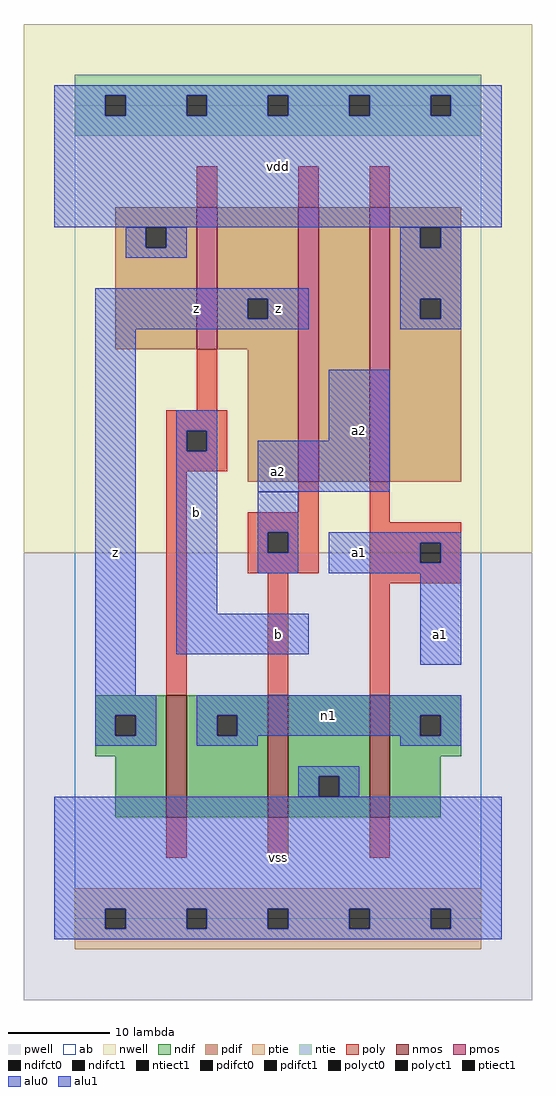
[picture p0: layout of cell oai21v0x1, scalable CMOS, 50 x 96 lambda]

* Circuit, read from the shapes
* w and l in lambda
.subckt oai21v0x1 a1 a2 b n1 vdd vss z
M1 n1 b z vss nfet w=12 l=2
M2 vss a2 n1 vss nfet w=12 l=2
M3 n1 a1 vss vss nfet w=12 l=2
M4 z b vdd vdd pfet w=14 l=2
M5 n2 a2 z vdd pfet w=27 l=2
M6 vdd a1 n2 vdd pfet w=27 l=2
.ends

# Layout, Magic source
magic
tech scmos
<< ab >>
rect 0 0 40 80
<< nwell >>
rect -5 36 45 88
<< pwell >>
rect -5 -8 45 36
<< poly >>
rect 12 70 14 74
rect 22 70 24 74
rect 29 70 31 74
rect 12 50 14 56
rect 9 48 15 50
rect 9 46 11 48
rect 13 46 15 48
rect 9 44 15 46
rect 9 22 11 44
rect 22 40 24 43
rect 17 38 24 40
rect 17 36 19 38
rect 21 36 24 38
rect 17 34 24 36
rect 29 39 31 43
rect 29 37 38 39
rect 29 35 34 37
rect 36 35 38 37
rect 19 22 21 34
rect 29 33 38 35
rect 29 22 31 33
rect 9 6 11 10
rect 19 6 21 10
rect 29 6 31 10
<< ndif >>
rect 2 20 9 22
rect 2 18 4 20
rect 6 18 9 20
rect 2 16 9 18
rect 4 10 9 16
rect 11 20 19 22
rect 11 18 14 20
rect 16 18 19 20
rect 11 10 19 18
rect 21 14 29 22
rect 21 12 24 14
rect 26 12 29 14
rect 21 10 29 12
rect 31 20 38 22
rect 31 18 34 20
rect 36 18 38 20
rect 31 16 38 18
rect 31 10 36 16
<< pdif >>
rect 4 68 12 70
rect 4 66 7 68
rect 9 66 12 68
rect 4 56 12 66
rect 14 61 22 70
rect 14 59 17 61
rect 19 59 22 61
rect 14 56 22 59
rect 17 43 22 56
rect 24 43 29 70
rect 31 68 38 70
rect 31 66 34 68
rect 36 66 38 68
rect 31 61 38 66
rect 31 59 34 61
rect 36 59 38 61
rect 31 43 38 59
<< alu1 >>
rect -2 81 42 82
rect -2 79 3 81
rect 5 79 11 81
rect 13 79 19 81
rect 21 79 27 81
rect 29 79 35 81
rect 37 79 42 81
rect -2 68 42 79
rect 2 61 23 62
rect 2 59 17 61
rect 19 59 23 61
rect 2 58 23 59
rect 2 22 6 58
rect 10 48 14 50
rect 10 46 11 48
rect 13 46 14 48
rect 25 47 31 54
rect 10 30 14 46
rect 18 42 31 47
rect 25 37 38 38
rect 25 35 34 37
rect 36 35 38 37
rect 25 34 38 35
rect 10 26 23 30
rect 34 25 38 34
rect 2 20 8 22
rect 2 18 4 20
rect 6 18 8 20
rect 2 17 8 18
rect -2 1 42 12
rect -2 -1 3 1
rect 5 -1 11 1
rect 13 -1 19 1
rect 21 -1 27 1
rect 29 -1 35 1
rect 37 -1 42 1
rect -2 -2 42 -1
<< ptie >>
rect 0 1 40 3
rect 0 -1 3 1
rect 5 -1 11 1
rect 13 -1 19 1
rect 21 -1 27 1
rect 29 -1 35 1
rect 37 -1 40 1
rect 0 -3 40 -1
<< ntie >>
rect 0 81 40 83
rect 0 79 3 81
rect 5 79 11 81
rect 13 79 19 81
rect 21 79 27 81
rect 29 79 35 81
rect 37 79 40 81
rect 0 77 40 79
<< nmos >>
rect 9 10 11 22
rect 19 10 21 22
rect 29 10 31 22
<< pmos >>
rect 12 56 14 70
rect 22 43 24 70
rect 29 43 31 70
<< polyct0 >>
rect 19 36 21 38
<< polyct1 >>
rect 11 46 13 48
rect 34 35 36 37
<< ndifct0 >>
rect 14 18 16 20
rect 24 12 26 14
rect 34 18 36 20
<< ndifct1 >>
rect 4 18 6 20
<< ntiect1 >>
rect 3 79 5 81
rect 11 79 13 81
rect 19 79 21 81
rect 27 79 29 81
rect 35 79 37 81
<< ptiect1 >>
rect 3 -1 5 1
rect 11 -1 13 1
rect 19 -1 21 1
rect 27 -1 29 1
rect 35 -1 37 1
<< pdifct0 >>
rect 7 66 9 68
rect 34 66 36 68
rect 34 59 36 61
<< pdifct1 >>
rect 17 59 19 61
<< alu0 >>
rect 5 66 7 68
rect 9 66 11 68
rect 5 65 11 66
rect 32 66 34 68
rect 36 66 38 68
rect 32 61 38 66
rect 32 59 34 61
rect 36 59 38 61
rect 32 58 38 59
rect 18 38 22 42
rect 18 36 19 38
rect 21 36 22 38
rect 18 34 22 36
rect 12 20 38 22
rect 12 18 14 20
rect 16 18 34 20
rect 36 18 38 20
rect 12 17 18 18
rect 32 17 38 18
rect 22 14 28 15
rect 22 12 24 14
rect 26 12 28 14
<< labels >>
rlabel alu0 25 20 25 20 6 n1
rlabel alu1 4 36 4 36 6 z
rlabel alu1 12 40 12 40 6 b
rlabel alu1 12 60 12 60 6 z
rlabel alu1 20 6 20 6 6 vss
rlabel alu1 20 28 20 28 6 b
rlabel alu1 28 36 28 36 6 a1
rlabel alu1 20 44 20 44 6 a2
rlabel alu1 28 48 28 48 6 a2
rlabel alu1 20 60 20 60 6 z
rlabel alu1 20 74 20 74 6 vdd
rlabel alu1 36 28 36 28 6 a1
<< end >>
